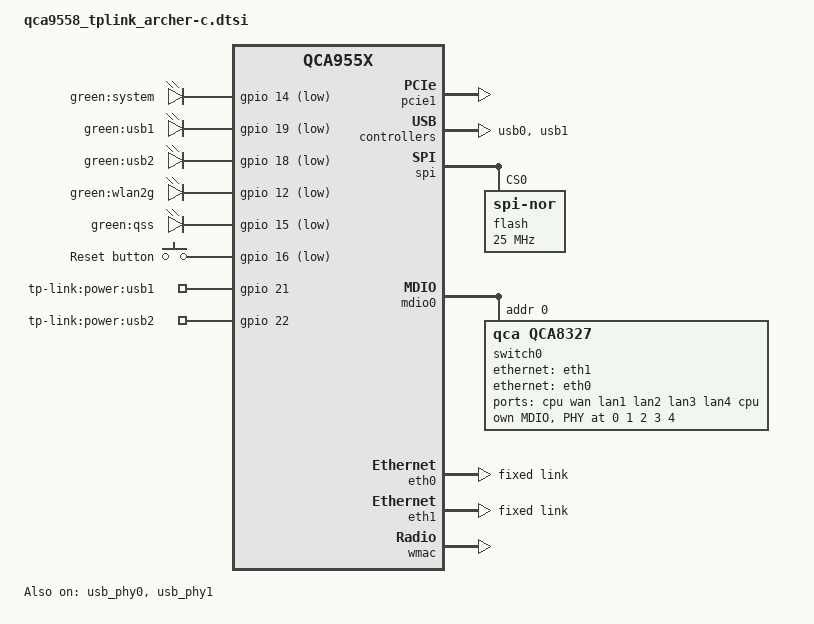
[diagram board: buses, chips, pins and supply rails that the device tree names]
// SPDX-License-Identifier: GPL-2.0-or-later OR MIT

#include "qca955x.dtsi"

#include <dt-bindings/gpio/gpio.h>
#include <dt-bindings/input/input.h>

/ {
	aliases {
		led-boot = &led_system;
		led-failsafe = &led_system;
		led-running = &led_system;
		led-upgrade = &led_system;
	};

	leds: leds {
		compatible = "gpio-leds";

		led_system: system {
			label = "green:system";
			gpios = <&gpio 14 GPIO_ACTIVE_LOW>;
			default-state = "on";
		};

		usb1 {
			label = "green:usb1";
			gpios = <&gpio 19 GPIO_ACTIVE_LOW>;
			trigger-sources = <&hub_port1>;
			linux,default-trigger = "usbport";
		};

		usb2 {
			label = "green:usb2";
			gpios = <&gpio 18 GPIO_ACTIVE_LOW>;
			trigger-sources = <&hub_port0>;
			linux,default-trigger = "usbport";
		};

		wlan2g {
			label = "green:wlan2g";
			gpios = <&gpio 12 GPIO_ACTIVE_LOW>;
			linux,default-trigger = "phy1tpt";
		};

		qss {
			label = "green:qss";
			gpios = <&gpio 15 GPIO_ACTIVE_LOW>;
		};
	};

	keys: keys {
		compatible = "gpio-keys";

		reset {
			label = "Reset button";
			linux,code = <KEY_RESTART>;
			gpios = <&gpio 16 GPIO_ACTIVE_LOW>;
			debounce-interval = <60>;
		};
	};

	gpio-export {
		compatible = "gpio-export";

		gpio_usb1_power {
			gpio-export,name = "tp-link:power:usb1";
			gpio-export,output = <1>;
			gpios = <&gpio 21 GPIO_ACTIVE_HIGH>;
		};

		gpio_usb2_power {
			gpio-export,name = "tp-link:power:usb2";
			gpio-export,output = <1>;
			gpios = <&gpio 22 GPIO_ACTIVE_HIGH>;
		};
	};
};

&pcie1 {
	status = "okay";
};

&usb_phy0 {
	status = "okay";
};

&usb0 {
	#address-cells = <1>;
	#size-cells = <0>;
	status = "okay";

	hub_port0: port@1 {
		reg = <1>;
		#trigger-source-cells = <0>;
	};
};

&usb_phy1 {
	status = "okay";
};

&usb1 {
	#address-cells = <1>;
	#size-cells = <0>;
	status = "okay";

	hub_port1: port@1 {
		reg = <1>;
		#trigger-source-cells = <0>;
	};
};

&spi {
	status = "okay";

	flash@0 {
		compatible = "jedec,spi-nor";
		reg = <0>;
		spi-max-frequency = <25000000>;

		mtdparts: partitions {
			compatible = "fixed-partitions";
			#address-cells = <1>;
			#size-cells = <1>;
		};
	};
};

&mdio0 {
	status = "okay";

	switch0@10 {
		compatible = "qca,qca8327";
		#address-cells = <1>;
		#size-cells = <0>;

		reg = <0>;

		ports {
			#address-cells = <1>;
			#size-cells = <0>;

			port@0 {
				reg = <0>;
				label = "cpu";
				ethernet = <&eth1>;
				phy-mode = "sgmii";
				qca,sgmii-rxclk-falling-edge;

				fixed-link {
					speed = <1000>;
					full-duplex;
				};
			};

			port@1 {
				reg = <1>;
				label = "wan";
				phy-mode = "internal";
				phy-handle = <&phy_port1>;
			};

			port@2 {
				reg = <2>;
				label = "lan1";
				phy-mode = "internal";
				phy-handle = <&phy_port2>;
			};

			port@3 {
				reg = <3>;
				label = "lan2";
				phy-mode = "internal";
				phy-handle = <&phy_port3>;
			};

			port@4 {
				reg = <4>;
				label = "lan3";
				phy-mode = "internal";
				phy-handle = <&phy_port4>;
			};

			port@5 {
				reg = <5>;
				label = "lan4";
				phy-mode = "internal";
				phy-handle = <&phy_port5>;
			};

			port@6 {
				reg = <6>;
				label = "cpu";
				ethernet = <&eth0>;
				phy-mode = "rgmii-id";

				fixed-link {
					speed = <1000>;
					full-duplex;
				};
			};
		};

		mdio {
			#address-cells = <1>;
			#size-cells = <0>;

			phy_port1: phy@0 {
				reg = <0>;
			};

			phy_port2: phy@1 {
				reg = <1>;
			};

			phy_port3: phy@2 {
				reg = <2>;
			};

			phy_port4: phy@3 {
				reg = <3>;
			};

			phy_port5: phy@4 {
				reg = <4>;
			};
		};
	};
};

&eth0 {
	status = "okay";

	pll-data = <0x56000000 0x00000101 0x00001616>;

	fixed-link {
		speed = <1000>;
		full-duplex;
	};

	gmac-config {
		device = <&gmac>;
		rgmii-enabled = <1>;
	};
};

&eth1 {
	status = "okay";

	pll-data = <0x03000101 0x00000101 0x00001616>;

	fixed-link {
		speed = <1000>;
		full-duplex;
	};
};

&wmac {
	status = "okay";
};
